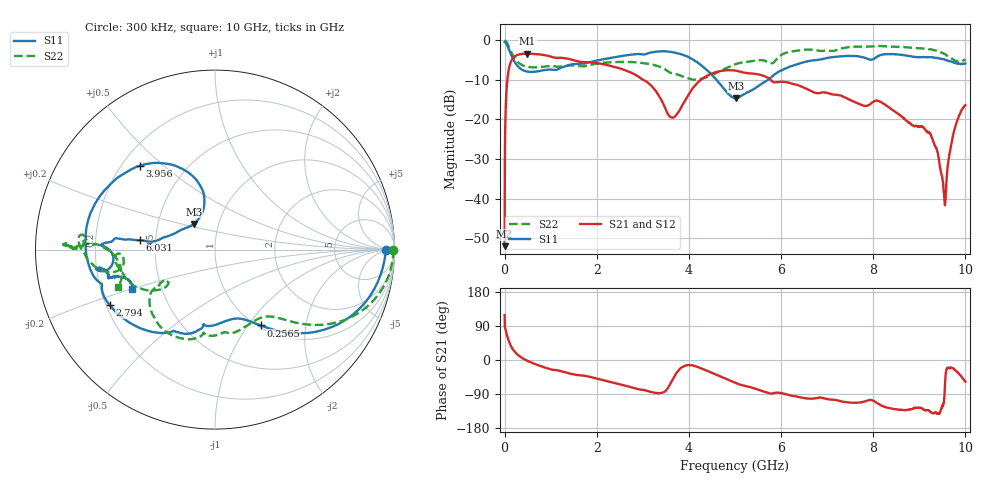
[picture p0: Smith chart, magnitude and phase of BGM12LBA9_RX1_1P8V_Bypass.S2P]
!Agilent Technologies,E5071C,MY46316587,B.13.01
!Date: Tue Sep 12 11:07:22 2017
!Data & Calibration Information:
!Freq	S11:SOLT2(ON)	S21:SOLT2(ON)	S12:SOLT2(ON)	S22:SOLT2(ON)
!PortZ  Port1:50+j0  Port2:50+j0
!Above PortZ is port z conversion or system Z0 setting when saving the data.
!When reading, reference impedance value at option line is always used.
# Hz S dB R 50
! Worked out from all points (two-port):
!   1601 points, 300 kHz to 10 GHz, reference 50 ohm
!   highest |S21| = -3.38 dB at 494 MHz (marker M1); lowest = -52.0 dB at 300 kHz (marker M2)
!   |S21| within 3 dB of the highest: 109.4 MHz to 2.27 GHz (2.161 GHz wide, 182 % of centre)
!   lowest |S11| = -14.6 dB at 5.019 GHz (marker M3), VSWR 1.46, Z = 38 + j11.2 ohm
!   |S11| at or under -10 dB: 4.599 GHz to 5.717 GHz (1.118 GHz wide, 21.7 % of centre)
!   |S22| runs from -10.0 to 0.0 dB; largest |S21 - S12| = 0.0021
!   S11 on the Smith chart (normalised r, x): 300 kHz: 41, -3; 256.5 MHz: 1.03, -1.15; 2.794 GHz: 0.21, -0.24; 3.956 GHz: 0.27, +0.42; 6.031 GHz: 0.41, +0.05; 10 GHz: 0.34, -0.20
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300000  -0.42 -0.2  -52.00 118.5  -55.43 127.3  -0.05 -0.0
5.654831e7  -1.28 -23.3  -10.38 63.1  -10.36 63.1  -0.76 -19.2
6.904794e7  -1.60 -27.6  -9.01 58.1  -9.01 58.1  -1.05 -22.7
1.315461e8  -3.39 -43.4  -5.57 38.3  -5.56 38.4  -2.69 -34.8
2.565423e8  -6.14 -58.9  -3.82 17.0  -3.82 17.0  -5.12 -45.0
4.940352e8  -7.91 -72.7  -3.38 -2.1  -3.37 -2.1  -6.69 -54.4
1.669e9  -5.90 -115.9  -5.50 -40.8  -5.49 -40.8  -6.58 -97.7
2.793966e9  -3.57 -152.2  -8.46 -73.5  -8.47 -73.3  -5.52 -123.3
3.3377e9  -2.84 178.9  -13.78 -87.5  -13.78 -87.5  -6.56 -141.0
3.631441e9  -2.97 156.5  -19.52 -54.6  -19.52 -54.5  -8.29 -146.3
3.956431e9  -4.04 131.8  -14.43 -13.7  -14.43 -13.6  -9.50 -148.7
4.475166e9  -8.44 103.6  -8.52 -32.6  -8.51 -32.6  -8.90 -143.0
5.00015e9  -14.60 127.3  -7.66 -60.1  -7.64 -60.2  -6.09 -156.3
5.018899e9  -14.62 129.7  -7.69 -61.0  -7.69 -61.1  -6.03 -157.0
6.031369e9  -7.47 173.0  -10.45 -88.0  -10.44 -88.1  -3.52 -171.2
6.66885e9  -5.11 173.5  -12.94 -102.1  -12.93 -102.0  -2.38 174.4
8.33755e9  -3.48 -170.7  -16.90 -126.8  -16.91 -126.8  -1.58 178.0
9.237523e9  -4.27 -164.9  -23.71 -137.0  -23.56 -136.7  -2.27 179.0
9.387518e9  -4.46 -165.0  -27.87 -140.4  -27.79 -140.9  -2.69 177.9
9.543764e9  -4.81 -164.9  -40.05 -98.2  -40.65 -93.1  -3.44 177.5
9.756257e9  -5.66 -162.0  -22.76 -24.3  -22.75 -24.2  -5.01 -176.6
1e10  -5.85 -154.7  -16.41 -57.2  -16.40 -57.2  -4.78 -159.1
